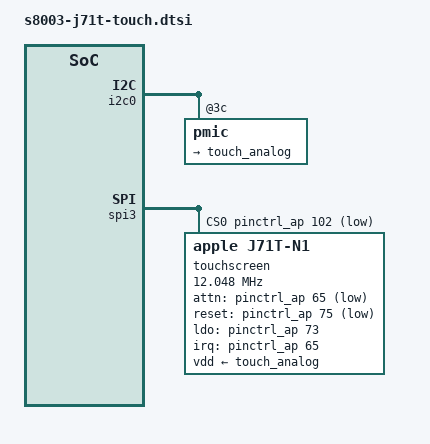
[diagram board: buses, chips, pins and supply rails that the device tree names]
// SPDX-License-Identifier: GPL-2.0+ OR MIT
/* J71t N1 touch wiring. Controller/input protocol are first-test candidates. */
/ {
	/* Live iOS arm-io clock-frequencies[0x130 - 0x100]. */
	spi3_nclk: clock-spi3 {
		compatible = "fixed-clock";
		#clock-cells = <0>;
		clock-frequency = <61538461>;
	};
};

&pmgr {
	touch_clk: clock-controller@78000 {
		compatible = "apple,s8000-touch-clock";
		reg = <0x78000 4>;
		#clock-cells = <0>;
		clocks = <&clkref>;
	};
};

&i2c0 {
	pmic@3c {
		touch_analog: regulator@31c {
			compatible = "apple,d2365-touch-analog";
			reg = <0x31c 1>;
			regulator-name = "touch-analog";
		};
	};
};

&pinctrl_ap {
	compatible = "apple,s8000-pinctrl", "apple,pinctrl";

	touch_sync_on: touch-sync-on-pins {
		pinmux = <APPLE_PINMUX(74, 2)>;
	};

	touch_sync_off: touch-sync-off-pins {
		pinmux = <APPLE_PINMUX(74, 0)>;
	};
};

/* Isolated board hunk: does not enable this N1 personality on J71s/J72t. */
&{/soc} {
	spi3: spi@20a08c000 {
		compatible = "apple,s8000-spi";
		reg = <0x2 0x0a08c000 0 0x4000>;
		#address-cells = <1>;
		#size-cells = <0>;
		interrupts = <AIC_IRQ 191 IRQ_TYPE_LEVEL_HIGH>;
		clocks = <&spi3_nclk>;
		power-domains = <&ps_spi3>;
		cs-gpios = <&pinctrl_ap 102 GPIO_ACTIVE_LOW>;
		status = "okay";

		touchscreen@0 {
			compatible = "apple,j71t-n1";
			reg = <0>;
			/* N1 selects 83 ns; controller rounds up to divider 6. */
			spi-max-frequency = <12048192>;
			interrupt-parent = <&pinctrl_ap>;
			interrupts = <65 IRQ_TYPE_EDGE_FALLING>;
			attn-gpios = <&pinctrl_ap 65 GPIO_ACTIVE_LOW>;
			reset-gpios = <&pinctrl_ap 75 GPIO_ACTIVE_LOW>;
			ldo-gpios = <&pinctrl_ap 73 GPIO_ACTIVE_HIGH>;
			vdd-supply = <&touch_analog>;
			clocks = <&touch_clk>;
			pinctrl-names = "sync-on", "sync-off";
			pinctrl-0 = <&touch_sync_on>;
			pinctrl-1 = <&touch_sync_off>;
			firmware-name = "apple/j71t-n1.bin";
			apple,calibration-firmware = "apple/j71t-n1-calibration.bin";
		};
	};
};
